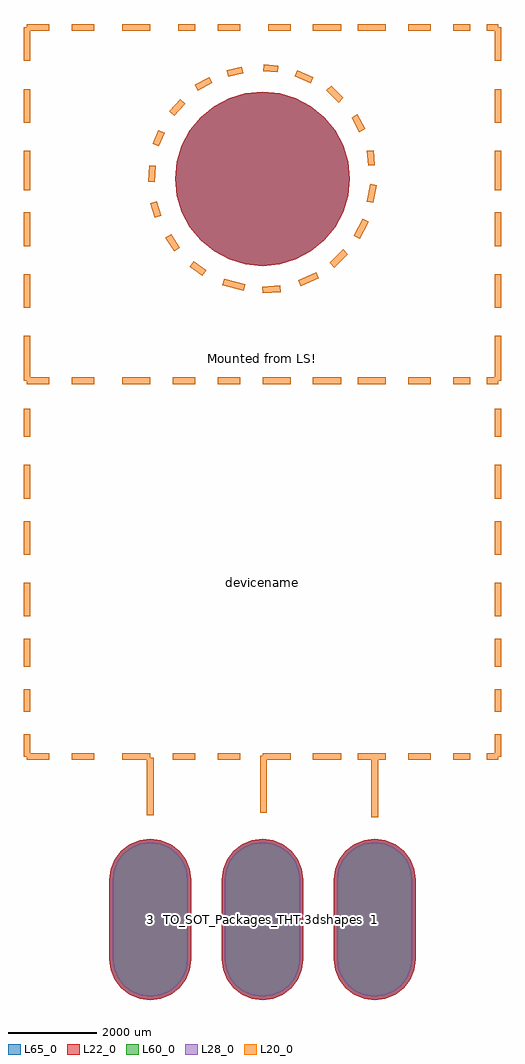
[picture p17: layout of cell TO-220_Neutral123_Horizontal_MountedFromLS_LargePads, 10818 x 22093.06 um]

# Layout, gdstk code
import gdstk
lib = gdstk.Library(unit=1e-6, precision=1e-09)
def P(c, l, *ps):  # polygons
    for p in ps: c.add(gdstk.Polygon(p, *l))
L20_0 = (20, 0)
L22_0 = (22, 0)
L28_0 = (28, 0)
L60_0 = (60, 0)
L65_0 = (65, 0)

to_220_neutral123_horizo = lib.new_cell('TO-220_Neutral123_Horizontal_MountedFromLS_LargePads')
P(to_220_neutral123_horizo, L22_0, [(1974.92,16764),(1936.972,17149.288),(1824.588,17519.769),(1642.086,17861.207),(1396.479,18160.479),(1097.207,18406.086),(755.769,18588.588),(385.288,18700.972),(0,18738.92),(-385.288,18700.972),(-755.769,18588.588),(-1097.207,18406.086),(-1396.479,18160.479),(-1642.086,17861.207),(-1824.588,17519.769),(-1936.972,17149.288),(-1974.92,16764),(-1936.972,16378.712),(-1824.588,16008.231),(-1642.086,15666.793),(-1396.479,15367.521),(-1097.207,15121.914),(-755.769,14939.412),(-385.288,14827.028),(0,14789.08),(385.288,14827.028),(755.769,14939.412),(1097.207,15121.914),(1396.479,15367.521),(1642.086,15666.793),(1824.588,16008.231),(1936.972,16378.712)],
  [(2540,-1825.06),(2779.312,-1793.554),(3002.315,-1701.183),(3193.812,-1554.242),(3340.753,-1362.745),(3433.124,-1139.742),(3464.63,-900.43),(3464.63,900.43),(3433.124,1139.742),(3340.753,1362.745),(3193.812,1554.242),(3002.315,1701.183),(2779.312,1793.554),(2540,1825.06),(2300.688,1793.554),(2077.685,1701.183),(1886.188,1554.242),(1739.247,1362.745),(1646.876,1139.742),(1615.37,900.43),(1615.37,-900.43),(1646.876,-1139.742),(1739.247,-1362.745),(1886.188,-1554.242),(2077.685,-1701.183),(2300.688,-1793.554)],
  [(-2540,-1825.06),(-2300.688,-1793.554),(-2077.685,-1701.183),(-1886.188,-1554.242),(-1739.247,-1362.745),(-1646.876,-1139.742),(-1615.37,-900.43),(-1615.37,900.43),(-1646.876,1139.742),(-1739.247,1362.745),(-1886.188,1554.242),(-2077.685,1701.183),(-2300.688,1793.554),(-2540,1825.06),(-2779.312,1793.554),(-3002.315,1701.183),(-3193.812,1554.242),(-3340.753,1362.745),(-3433.124,1139.742),(-3464.63,900.43),(-3464.63,-900.43),(-3433.124,-1139.742),(-3340.753,-1362.745),(-3193.812,-1554.242),(-3002.315,-1701.183),(-2779.312,-1793.554)],
  [(0,-1825.06),(239.312,-1793.554),(462.315,-1701.183),(653.812,-1554.242),(800.753,-1362.745),(893.124,-1139.742),(924.63,-900.43),(924.63,900.43),(893.124,1139.742),(800.753,1362.745),(653.812,1554.242),(462.315,1701.183),(239.312,1793.554),(0,1825.06),(-239.312,1793.554),(-462.315,1701.183),(-653.812,1554.242),(-800.753,1362.745),(-893.124,1139.742),(-924.63,900.43),(-924.63,-900.43),(-893.124,-1139.742),(-800.753,-1362.745),(-653.812,-1554.242),(-462.315,-1701.183),(-239.312,-1793.554)])
P(to_220_neutral123_horizo, L28_0, [(2540,-1750.06),(2759.9,-1721.11),(2964.815,-1636.231),(3140.779,-1501.209),(3275.801,-1325.245),(3360.68,-1120.33),(3389.63,-900.43),(3389.63,900.43),(3360.68,1120.33),(3275.801,1325.245),(3140.779,1501.209),(2964.815,1636.231),(2759.9,1721.11),(2540,1750.06),(2320.1,1721.11),(2115.185,1636.231),(1939.221,1501.209),(1804.199,1325.245),(1719.32,1120.33),(1690.37,900.43),(1690.37,-900.43),(1719.32,-1120.33),(1804.199,-1325.245),(1939.221,-1501.209),(2115.185,-1636.231),(2320.1,-1721.11)],
  [(-2540,-1750.06),(-2320.1,-1721.11),(-2115.185,-1636.231),(-1939.221,-1501.209),(-1804.199,-1325.245),(-1719.32,-1120.33),(-1690.37,-900.43),(-1690.37,900.43),(-1719.32,1120.33),(-1804.199,1325.245),(-1939.221,1501.209),(-2115.185,1636.231),(-2320.1,1721.11),(-2540,1750.06),(-2759.9,1721.11),(-2964.815,1636.231),(-3140.779,1501.209),(-3275.801,1325.245),(-3360.68,1120.33),(-3389.63,900.43),(-3389.63,-900.43),(-3360.68,-1120.33),(-3275.801,-1325.245),(-3140.779,-1501.209),(-2964.815,-1636.231),(-2759.9,-1721.11)],
  [(0,-1750.06),(219.9,-1721.11),(424.815,-1636.231),(600.779,-1501.209),(735.801,-1325.245),(820.68,-1120.33),(849.63,-900.43),(849.63,900.43),(820.68,1120.33),(735.801,1325.245),(600.779,1501.209),(424.815,1636.231),(219.9,1721.11),(0,1750.06),(-219.9,1721.11),(-424.815,1636.231),(-600.779,1501.209),(-735.801,1325.245),(-820.68,1120.33),(-849.63,900.43),(-849.63,-900.43),(-820.68,-1120.33),(-735.801,-1325.245),(-600.779,-1501.209),(-424.815,-1636.231),(-219.9,-1721.11)])
P(to_220_neutral123_horizo, L60_0, [(2540,-1750.06),(2759.9,-1721.11),(2964.815,-1636.231),(3140.779,-1501.209),(3275.801,-1325.245),(3360.68,-1120.33),(3389.63,-900.43),(3389.63,900.43),(3360.68,1120.33),(3275.801,1325.245),(3140.779,1501.209),(2964.815,1636.231),(2759.9,1721.11),(2540,1750.06),(2320.1,1721.11),(2115.185,1636.231),(1939.221,1501.209),(1804.199,1325.245),(1719.32,1120.33),(1690.37,900.43),(1690.37,-900.43),(1719.32,-1120.33),(1804.199,-1325.245),(1939.221,-1501.209),(2115.185,-1636.231),(2320.1,-1721.11)],
  [(-2540,-1750.06),(-2320.1,-1721.11),(-2115.185,-1636.231),(-1939.221,-1501.209),(-1804.199,-1325.245),(-1719.32,-1120.33),(-1690.37,-900.43),(-1690.37,900.43),(-1719.32,1120.33),(-1804.199,1325.245),(-1939.221,1501.209),(-2115.185,1636.231),(-2320.1,1721.11),(-2540,1750.06),(-2759.9,1721.11),(-2964.815,1636.231),(-3140.779,1501.209),(-3275.801,1325.245),(-3360.68,1120.33),(-3389.63,900.43),(-3389.63,-900.43),(-3360.68,-1120.33),(-3275.801,-1325.245),(-3140.779,-1501.209),(-2964.815,-1636.231),(-2759.9,-1721.11)],
  [(0,-1750.06),(219.9,-1721.11),(424.815,-1636.231),(600.779,-1501.209),(735.801,-1325.245),(820.68,-1120.33),(849.63,-900.43),(849.63,900.43),(820.68,1120.33),(735.801,1325.245),(600.779,1501.209),(424.815,1636.231),(219.9,1721.11),(0,1750.06),(-219.9,1721.11),(-424.815,1636.231),(-600.779,1501.209),(-735.801,1325.245),(-820.68,1120.33),(-849.63,900.43),(-849.63,-900.43),(-820.68,-1120.33),(-735.801,-1325.245),(-600.779,-1501.209),(-424.815,-1636.231),(-219.9,-1721.11)])
P(to_220_neutral123_horizo, L65_0, [(1974.92,16764),(1936.972,17149.288),(1824.588,17519.769),(1642.086,17861.207),(1396.479,18160.479),(1097.207,18406.086),(755.769,18588.588),(385.288,18700.972),(0,18738.92),(-385.288,18700.972),(-755.769,18588.588),(-1097.207,18406.086),(-1396.479,18160.479),(-1642.086,17861.207),(-1824.588,17519.769),(-1936.972,17149.288),(-1974.92,16764),(-1936.972,16378.712),(-1824.588,16008.231),(-1642.086,15666.793),(-1396.479,15367.521),(-1097.207,15121.914),(-755.769,14939.412),(-385.288,14827.028),(0,14789.08),(385.288,14827.028),(755.769,14939.412),(1097.207,15121.914),(1396.479,15367.521),(1642.086,15666.793),(1824.588,16008.231),(1936.972,16378.712)],
  [(2540,-1825.06),(2779.312,-1793.554),(3002.315,-1701.183),(3193.812,-1554.242),(3340.753,-1362.745),(3433.124,-1139.742),(3464.63,-900.43),(3464.63,900.43),(3433.124,1139.742),(3340.753,1362.745),(3193.812,1554.242),(3002.315,1701.183),(2779.312,1793.554),(2540,1825.06),(2300.688,1793.554),(2077.685,1701.183),(1886.188,1554.242),(1739.247,1362.745),(1646.876,1139.742),(1615.37,900.43),(1615.37,-900.43),(1646.876,-1139.742),(1739.247,-1362.745),(1886.188,-1554.242),(2077.685,-1701.183),(2300.688,-1793.554)],
  [(-2540,-1825.06),(-2300.688,-1793.554),(-2077.685,-1701.183),(-1886.188,-1554.242),(-1739.247,-1362.745),(-1646.876,-1139.742),(-1615.37,-900.43),(-1615.37,900.43),(-1646.876,1139.742),(-1739.247,1362.745),(-1886.188,1554.242),(-2077.685,1701.183),(-2300.688,1793.554),(-2540,1825.06),(-2779.312,1793.554),(-3002.315,1701.183),(-3193.812,1554.242),(-3340.753,1362.745),(-3433.124,1139.742),(-3464.63,900.43),(-3464.63,-900.43),(-3433.124,-1139.742),(-3340.753,-1362.745),(-3193.812,-1554.242),(-3002.315,-1701.183),(-2779.312,-1793.554)],
  [(0,-1825.06),(239.312,-1793.554),(462.315,-1701.183),(653.812,-1554.242),(800.753,-1362.745),(893.124,-1139.742),(924.63,-900.43),(924.63,900.43),(893.124,1139.742),(800.753,1362.745),(653.812,1554.242),(462.315,1701.183),(239.312,1793.554),(0,1825.06),(-239.312,1793.554),(-462.315,1701.183),(-653.812,1554.242),(-800.753,1362.745),(-893.124,1139.742),(-924.63,900.43),(-924.63,-900.43),(-893.124,-1139.742),(-800.753,-1362.745),(-653.812,-1554.242),(-462.315,-1701.183),(-239.312,-1793.554)])
to_220_neutral123_horizo.add(gdstk.FlexPath([(-5334,3683),(-4826,3683)], 149.998, ends="flush", simple_path=True, layer=20, datatype=0))  # L20_0
to_220_neutral123_horizo.add(gdstk.FlexPath([(-4318,3683),(-3810,3683)], 149.998, ends="flush", simple_path=True, layer=20, datatype=0))  # L20_0
to_220_neutral123_horizo.add(gdstk.FlexPath([(-3175,3683),(-2540,3683)], 149.998, ends="flush", simple_path=True, layer=20, datatype=0))  # L20_0
to_220_neutral123_horizo.add(gdstk.FlexPath([(-2032,3683),(-1524,3683)], 149.998, ends="flush", simple_path=True, layer=20, datatype=0))  # L20_0
to_220_neutral123_horizo.add(gdstk.FlexPath([(-1016,3683),(-508,3683)], 149.998, ends="flush", simple_path=True, layer=20, datatype=0))  # L20_0
to_220_neutral123_horizo.add(gdstk.FlexPath([(0,3683),(635,3683)], 149.998, ends="flush", simple_path=True, layer=20, datatype=0))  # L20_0
to_220_neutral123_horizo.add(gdstk.FlexPath([(1143,3683),(1778,3683)], 149.998, ends="flush", simple_path=True, layer=20, datatype=0))  # L20_0
to_220_neutral123_horizo.add(gdstk.FlexPath([(2159,3683),(2794,3683)], 149.998, ends="flush", simple_path=True, layer=20, datatype=0))  # L20_0
to_220_neutral123_horizo.add(gdstk.FlexPath([(3302,3683),(3810,3683)], 149.998, ends="flush", simple_path=True, layer=20, datatype=0))  # L20_0
to_220_neutral123_horizo.add(gdstk.FlexPath([(4318,3683),(4699,3683)], 149.998, ends="flush", simple_path=True, layer=20, datatype=0))  # L20_0
to_220_neutral123_horizo.add(gdstk.FlexPath([(5080,3683),(5334,3683)], 149.998, ends="flush", simple_path=True, layer=20, datatype=0))  # L20_0
to_220_neutral123_horizo.add(gdstk.FlexPath([(-5334,12192),(-4826,12192)], 149.998, ends="flush", simple_path=True, layer=20, datatype=0))  # L20_0
to_220_neutral123_horizo.add(gdstk.FlexPath([(-4318,12192),(-3810,12192)], 149.998, ends="flush", simple_path=True, layer=20, datatype=0))  # L20_0
to_220_neutral123_horizo.add(gdstk.FlexPath([(-3175,12192),(-2540,12192)], 149.998, ends="flush", simple_path=True, layer=20, datatype=0))  # L20_0
to_220_neutral123_horizo.add(gdstk.FlexPath([(-2032,12192),(-1524,12192)], 149.998, ends="flush", simple_path=True, layer=20, datatype=0))  # L20_0
to_220_neutral123_horizo.add(gdstk.FlexPath([(-1016,12192),(-508,12192)], 149.998, ends="flush", simple_path=True, layer=20, datatype=0))  # L20_0
to_220_neutral123_horizo.add(gdstk.FlexPath([(0,12192),(635,12192)], 149.998, ends="flush", simple_path=True, layer=20, datatype=0))  # L20_0
to_220_neutral123_horizo.add(gdstk.FlexPath([(1143,12192),(1778,12192)], 149.998, ends="flush", simple_path=True, layer=20, datatype=0))  # L20_0
to_220_neutral123_horizo.add(gdstk.FlexPath([(2159,12192),(2794,12192)], 149.998, ends="flush", simple_path=True, layer=20, datatype=0))  # L20_0
to_220_neutral123_horizo.add(gdstk.FlexPath([(3302,12192),(3810,12192)], 149.998, ends="flush", simple_path=True, layer=20, datatype=0))  # L20_0
to_220_neutral123_horizo.add(gdstk.FlexPath([(4318,12192),(4699,12192)], 149.998, ends="flush", simple_path=True, layer=20, datatype=0))  # L20_0
to_220_neutral123_horizo.add(gdstk.FlexPath([(5080,12192),(5334,12192)], 149.998, ends="flush", simple_path=True, layer=20, datatype=0))  # L20_0
to_220_neutral123_horizo.add(gdstk.FlexPath([(-5334,20193),(-4826,20193)], 149.998, ends="flush", simple_path=True, layer=20, datatype=0))  # L20_0
to_220_neutral123_horizo.add(gdstk.FlexPath([(-4318,20193),(-3810,20193)], 149.998, ends="flush", simple_path=True, layer=20, datatype=0))  # L20_0
to_220_neutral123_horizo.add(gdstk.FlexPath([(-3175,20193),(-2540,20193)], 149.998, ends="flush", simple_path=True, layer=20, datatype=0))  # L20_0
to_220_neutral123_horizo.add(gdstk.FlexPath([(-1905,20193),(-1524,20193)], 149.998, ends="flush", simple_path=True, layer=20, datatype=0))  # L20_0
to_220_neutral123_horizo.add(gdstk.FlexPath([(-1016,20193),(-508,20193)], 149.998, ends="flush", simple_path=True, layer=20, datatype=0))  # L20_0
to_220_neutral123_horizo.add(gdstk.FlexPath([(127,20193),(635,20193)], 149.998, ends="flush", simple_path=True, layer=20, datatype=0))  # L20_0
to_220_neutral123_horizo.add(gdstk.FlexPath([(1143,20193),(1778,20193)], 149.998, ends="flush", simple_path=True, layer=20, datatype=0))  # L20_0
to_220_neutral123_horizo.add(gdstk.FlexPath([(2159,20193),(2794,20193)], 149.998, ends="flush", simple_path=True, layer=20, datatype=0))  # L20_0
to_220_neutral123_horizo.add(gdstk.FlexPath([(3302,20193),(3810,20193)], 149.998, ends="flush", simple_path=True, layer=20, datatype=0))  # L20_0
to_220_neutral123_horizo.add(gdstk.FlexPath([(4318,20193),(4699,20193)], 149.998, ends="flush", simple_path=True, layer=20, datatype=0))  # L20_0
to_220_neutral123_horizo.add(gdstk.FlexPath([(5080,20193),(5334,20193)], 149.998, ends="flush", simple_path=True, layer=20, datatype=0))  # L20_0
to_220_neutral123_horizo.add(gdstk.FlexPath([(5334,20193),(5334,19431)], 149.998, ends="flush", simple_path=True, layer=20, datatype=0))  # L20_0
to_220_neutral123_horizo.add(gdstk.FlexPath([(5334,18796),(5334,18034)], 149.998, ends="flush", simple_path=True, layer=20, datatype=0))  # L20_0
to_220_neutral123_horizo.add(gdstk.FlexPath([(5334,17399),(5334,16510)], 149.998, ends="flush", simple_path=True, layer=20, datatype=0))  # L20_0
to_220_neutral123_horizo.add(gdstk.FlexPath([(5334,16002),(5334,15240)], 149.998, ends="flush", simple_path=True, layer=20, datatype=0))  # L20_0
to_220_neutral123_horizo.add(gdstk.FlexPath([(5334,14605),(5334,13843)], 149.998, ends="flush", simple_path=True, layer=20, datatype=0))  # L20_0
to_220_neutral123_horizo.add(gdstk.FlexPath([(5334,13208),(5334,12192)], 149.998, ends="flush", simple_path=True, layer=20, datatype=0))  # L20_0
to_220_neutral123_horizo.add(gdstk.FlexPath([(5334,11557),(5334,10922)], 149.998, ends="flush", simple_path=True, layer=20, datatype=0))  # L20_0
to_220_neutral123_horizo.add(gdstk.FlexPath([(5334,10287),(5334,9525)], 149.998, ends="flush", simple_path=True, layer=20, datatype=0))  # L20_0
to_220_neutral123_horizo.add(gdstk.FlexPath([(5334,9017),(5334,8255)], 149.998, ends="flush", simple_path=True, layer=20, datatype=0))  # L20_0
to_220_neutral123_horizo.add(gdstk.FlexPath([(5334,7620),(5334,6858)], 149.998, ends="flush", simple_path=True, layer=20, datatype=0))  # L20_0
to_220_neutral123_horizo.add(gdstk.FlexPath([(5334,6350),(5334,5715)], 149.998, ends="flush", simple_path=True, layer=20, datatype=0))  # L20_0
to_220_neutral123_horizo.add(gdstk.FlexPath([(5334,5207),(5334,4699)], 149.998, ends="flush", simple_path=True, layer=20, datatype=0))  # L20_0
to_220_neutral123_horizo.add(gdstk.FlexPath([(5334,4191),(5334,3683)], 149.998, ends="flush", simple_path=True, layer=20, datatype=0))  # L20_0
to_220_neutral123_horizo.add(gdstk.FlexPath([(-5334,20193),(-5334,19431)], 149.998, ends="flush", simple_path=True, layer=20, datatype=0))  # L20_0
to_220_neutral123_horizo.add(gdstk.FlexPath([(-5334,18796),(-5334,18034)], 149.998, ends="flush", simple_path=True, layer=20, datatype=0))  # L20_0
to_220_neutral123_horizo.add(gdstk.FlexPath([(-5334,17399),(-5334,16510)], 149.998, ends="flush", simple_path=True, layer=20, datatype=0))  # L20_0
to_220_neutral123_horizo.add(gdstk.FlexPath([(-5334,16002),(-5334,15240)], 149.998, ends="flush", simple_path=True, layer=20, datatype=0))  # L20_0
to_220_neutral123_horizo.add(gdstk.FlexPath([(-5334,14605),(-5334,13843)], 149.998, ends="flush", simple_path=True, layer=20, datatype=0))  # L20_0
to_220_neutral123_horizo.add(gdstk.FlexPath([(-5334,13208),(-5334,12192)], 149.998, ends="flush", simple_path=True, layer=20, datatype=0))  # L20_0
to_220_neutral123_horizo.add(gdstk.FlexPath([(-5334,11557),(-5334,10922)], 149.998, ends="flush", simple_path=True, layer=20, datatype=0))  # L20_0
to_220_neutral123_horizo.add(gdstk.FlexPath([(-5334,10287),(-5334,9525)], 149.998, ends="flush", simple_path=True, layer=20, datatype=0))  # L20_0
to_220_neutral123_horizo.add(gdstk.FlexPath([(-5334,9017),(-5334,8255)], 149.998, ends="flush", simple_path=True, layer=20, datatype=0))  # L20_0
to_220_neutral123_horizo.add(gdstk.FlexPath([(-5334,7620),(-5334,6858)], 149.998, ends="flush", simple_path=True, layer=20, datatype=0))  # L20_0
to_220_neutral123_horizo.add(gdstk.FlexPath([(-5334,6350),(-5334,5715)], 149.998, ends="flush", simple_path=True, layer=20, datatype=0))  # L20_0
to_220_neutral123_horizo.add(gdstk.FlexPath([(-5334,5207),(-5334,4699)], 149.998, ends="flush", simple_path=True, layer=20, datatype=0))  # L20_0
to_220_neutral123_horizo.add(gdstk.FlexPath([(-5334,4191),(-5334,3683)], 149.998, ends="flush", simple_path=True, layer=20, datatype=0))  # L20_0
to_220_neutral123_horizo.add(gdstk.FlexPath([(25.4,19278.6),(355.6,19253.2)], 149.998, ends="flush", simple_path=True, layer=20, datatype=0))  # L20_0
to_220_neutral123_horizo.add(gdstk.FlexPath([(762,19151.6),(1117.6,18999.2)], 149.998, ends="flush", simple_path=True, layer=20, datatype=0))  # L20_0
to_220_neutral123_horizo.add(gdstk.FlexPath([(1498.6,18821.4),(1778,18542)], 149.998, ends="flush", simple_path=True, layer=20, datatype=0))  # L20_0
to_220_neutral123_horizo.add(gdstk.FlexPath([(2082.8,18186.4),(2260.6,17856.2)], 149.998, ends="flush", simple_path=True, layer=20, datatype=0))  # L20_0
to_220_neutral123_horizo.add(gdstk.FlexPath([(2438.4,17399),(2463.8,17068.8)], 149.998, ends="flush", simple_path=True, layer=20, datatype=0))  # L20_0
to_220_neutral123_horizo.add(gdstk.FlexPath([(2514.6,16637),(2438.4,16230.6)], 149.998, ends="flush", simple_path=True, layer=20, datatype=0))  # L20_0
to_220_neutral123_horizo.add(gdstk.FlexPath([(2336.8,15824.2),(2133.6,15443.2)], 149.998, ends="flush", simple_path=True, layer=20, datatype=0))  # L20_0
to_220_neutral123_horizo.add(gdstk.FlexPath([(1879.6,15113),(1574.8,14808.2)], 149.998, ends="flush", simple_path=True, layer=20, datatype=0))  # L20_0
to_220_neutral123_horizo.add(gdstk.FlexPath([(1244.6,14579.6),(838.2,14401.8)], 149.998, ends="flush", simple_path=True, layer=20, datatype=0))  # L20_0
to_220_neutral123_horizo.add(gdstk.FlexPath([(406.4,14274.8),(0,14249.4)], 149.998, ends="flush", simple_path=True, layer=20, datatype=0))  # L20_0
to_220_neutral123_horizo.add(gdstk.FlexPath([(-406.4,14300.2),(-889,14427.2)], 149.998, ends="flush", simple_path=True, layer=20, datatype=0))  # L20_0
to_220_neutral123_horizo.add(gdstk.FlexPath([(-1320.8,14630.4),(-1600.2,14833.6)], 149.998, ends="flush", simple_path=True, layer=20, datatype=0))  # L20_0
to_220_neutral123_horizo.add(gdstk.FlexPath([(-1930.4,15163.8),(-2133.6,15468.6)], 149.998, ends="flush", simple_path=True, layer=20, datatype=0))  # L20_0
to_220_neutral123_horizo.add(gdstk.FlexPath([(-2362.2,15900.4),(-2463.8,16230.6)], 149.998, ends="flush", simple_path=True, layer=20, datatype=0))  # L20_0
to_220_neutral123_horizo.add(gdstk.FlexPath([(-2514.6,16687.8),(-2489.2,17068.8)], 149.998, ends="flush", simple_path=True, layer=20, datatype=0))  # L20_0
to_220_neutral123_horizo.add(gdstk.FlexPath([(-2413,17526),(-2286,17830.8)], 149.998, ends="flush", simple_path=True, layer=20, datatype=0))  # L20_0
to_220_neutral123_horizo.add(gdstk.FlexPath([(-2057.4,18237.2),(-1803.4,18516.6)], 149.998, ends="flush", simple_path=True, layer=20, datatype=0))  # L20_0
to_220_neutral123_horizo.add(gdstk.FlexPath([(-1498.6,18821.4),(-1168.4,18999.2)], 149.998, ends="flush", simple_path=True, layer=20, datatype=0))  # L20_0
to_220_neutral123_horizo.add(gdstk.FlexPath([(-787.4,19151.6),(-457.2,19227.8)], 149.998, ends="flush", simple_path=True, layer=20, datatype=0))  # L20_0
to_220_neutral123_horizo.add(gdstk.FlexPath([(2540,3657.6),(2540,2311.4)], 149.998, ends="flush", simple_path=True, layer=20, datatype=0))  # L20_0
to_220_neutral123_horizo.add(gdstk.FlexPath([(-2540,3657.6),(-2540,2362.2)], 149.998, ends="flush", simple_path=True, layer=20, datatype=0))  # L20_0
to_220_neutral123_horizo.add(gdstk.FlexPath([(25.4,3708.4),(25.4,2413)], 149.998, ends="flush", simple_path=True, layer=20, datatype=0))  # L20_0
to_220_neutral123_horizo.add(gdstk.Label('TO_SOT_Packages_THT.3dshapes/TO-220_Neutral123_Horizontal_MountedFromLS_LargePads.wrl', (0,0), layer=12, texttype=0))
to_220_neutral123_horizo.add(gdstk.Label('1', (2540,0), layer=28, texttype=0))
to_220_neutral123_horizo.add(gdstk.Label('3', (-2540,0), layer=28, texttype=0))
to_220_neutral123_horizo.add(gdstk.Label('2', (0,0), layer=28, texttype=0))
to_220_neutral123_horizo.add(gdstk.Label('Mounted from LS!', (0,12700), layer=9, texttype=0))
to_220_neutral123_horizo.add(gdstk.Label('type', (-1016,-8128), layer=9, texttype=0))
to_220_neutral123_horizo.add(gdstk.Label('devicename', (0,7620), layer=9, texttype=0))

lib.write_gds('TO-220_Neutral123_Horizontal_MountedFromLS_LargePads.gds')
